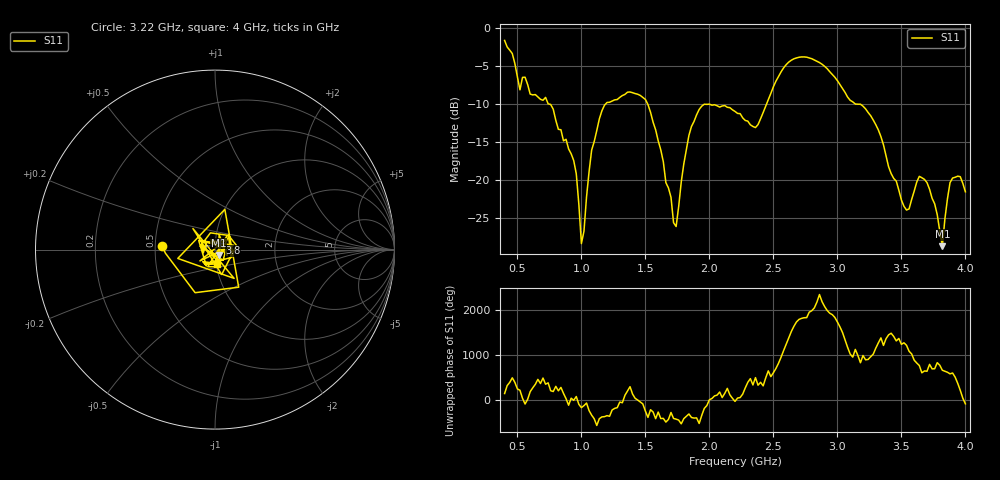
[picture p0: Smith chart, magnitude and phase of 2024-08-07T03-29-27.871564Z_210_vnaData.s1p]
!Created with skrf (http://scikit-rf.org).
# Hz S RI R 50.0
!freq ReS11 ImS11
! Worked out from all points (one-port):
!   181 points, 400 MHz to 4 GHz, reference 50 ohm
!   lowest |S11| = -28.7 dB at 3.82 GHz (marker M1), VSWR 1.08, Z = 52 - j3.16 ohm
!   |S11| at or under -10 dB: 742.7 MHz to 1.19 GHz (447.2 MHz wide, 46.3 % of centre); 1.517 GHz to 2.447 GHz (929.4 MHz wide, 46.9 % of centre); 3.139 GHz to end of sweep
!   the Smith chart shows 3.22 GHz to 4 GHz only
!   S11 on the Smith chart (normalised r, x): 3.22 GHz: 0.55, +0.02; 3.8 GHz: 1.05, +0.08; 4 GHz: 1.01, -0.17
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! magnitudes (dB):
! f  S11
! 400 MHz  -1.6
! 520 MHz  -8.1
! 560 MHz  -6.5
! 720 MHz  -9.1
! 860 MHz  -14.9
! 960 MHz  -19.2
! 1 GHz  -28.4
! 1.08 GHz  -16.1
! 1.14 GHz  -12.0
! 1.3 GHz  -9.1
! 1.5 GHz  -9.4
! 1.62 GHz  -16.0
! 1.72 GHz  -25.6
! 1.76 GHz  -23.5
! 1.84 GHz  -14.1
! 1.92 GHz  -10.7
! 2.2 GHz  -11.0
! 2.36 GHz  -13.1
! 2.66 GHz  -4.1
! 2.88 GHz  -4.8
! 3.1 GHz  -9.5
! 3.22 GHz  -10.7
! 3.56 GHz  -23.8
! 3.68 GHz  -19.9
! 3.8 GHz  -26.8
! 3.82 GHz  -28.7
! 3.88 GHz  -20.4
! 4 GHz  -21.6
